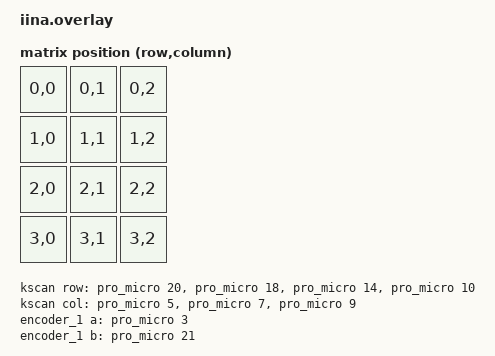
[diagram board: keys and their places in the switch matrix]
#include <dt-bindings/zmk/matrix_transform.h>

/ {
    chosen {
        zmk,kscan = &kscan;
        zmk,matrix_transform = &transform;
    };

    kscan: kscan {
        compatible = "zmk,kscan-gpio-matrix";
        diode-direction = "col2row";

        row-gpios = <&pro_micro 20 (GPIO_ACTIVE_HIGH | GPIO_PULL_DOWN)>,
                    <&pro_micro 18 (GPIO_ACTIVE_HIGH | GPIO_PULL_DOWN)>,
                    <&pro_micro 14 (GPIO_ACTIVE_HIGH | GPIO_PULL_DOWN)>,
                    <&pro_micro 10 (GPIO_ACTIVE_HIGH | GPIO_PULL_DOWN)>;
    
        col-gpios = <&pro_micro 5 (GPIO_ACTIVE_HIGH)>,
                    <&pro_micro 7 (GPIO_ACTIVE_HIGH)>,
                    <&pro_micro 9 (GPIO_ACTIVE_HIGH)>;
    };

    encoder_1: encoder_1 {
        compatible = "alps,ec11";
        label = "Encoder 1";
        a-gpios = <&pro_micro 3 (GPIO_ACTIVE_HIGH | GPIO_PULL_UP)>;
        b-gpios = <&pro_micro 21 (GPIO_ACTIVE_HIGH | GPIO_PULL_UP)>;
        steps = <80>;
        status = "okay";
    };

    sensors: sensors {
        compatible = "zmk,keymap-sensors";
        sensors = <&encoder_1>;
        triggers-per-rotation = <20>;
    };

    transform: matrix_transform {
        compatible = "zmk,matrix-transform";
        rows = <4>;
        columns = <3>;
        map = <
            RC(0,0) RC(0,1) RC(0,2)
            RC(1,0) RC(1,1) RC(1,2)
            RC(2,0) RC(2,1) RC(2,2)
            RC(3,0) RC(3,1) RC(3,2)
        >;
    };
};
